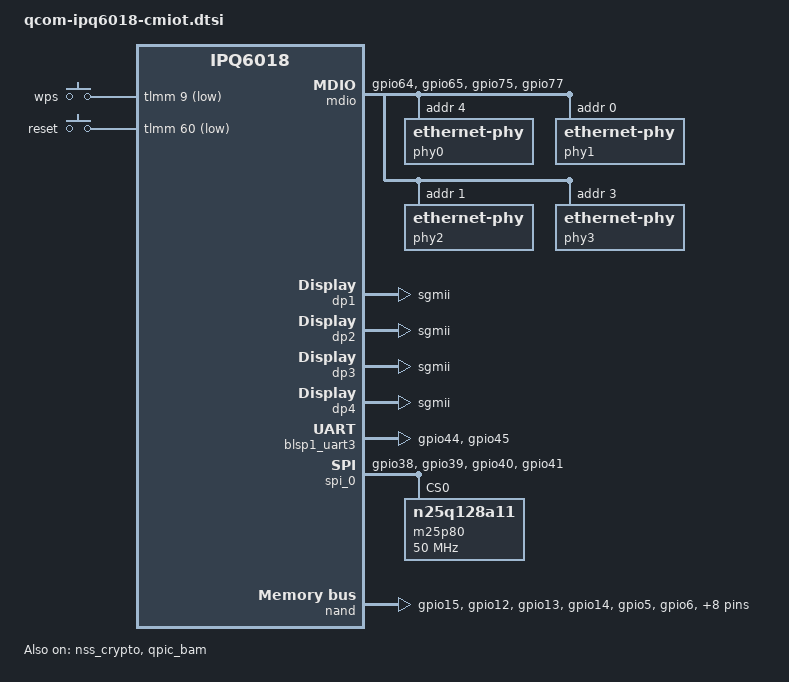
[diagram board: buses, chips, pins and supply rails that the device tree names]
// SPDX-License-Identifier: GPL-2.0-or-later OR MIT
// Copyright (c) 2021 AmadeusGhost <amadeus@jmu.edu.cn>

/dts-v1/;

#include "qcom-ipq6018.dtsi"
#include "qcom-ipq6000-cpu-opp.dtsi"
#include <dt-bindings/input/input.h>
#include <dt-bindings/gpio/gpio.h>

/ {
	#address-cells = <0x2>;
	#size-cells = <0x2>;
	interrupt-parent = <&intc>;
	qcom,msm-id = <0x192 0x0>;

	aliases {
		serial0 = &blsp1_uart3;

		ethernet0 = "/soc/dp1";
		ethernet1 = "/soc/dp2";
		ethernet2 = "/soc/dp3";
		ethernet3 = "/soc/dp4";
	};

	chosen {
		bootargs-append = " root=/dev/ubiblock0_1 swiotlb=1";
	};

	soc {
		mdio: mdio@90000 {
			pinctrl-0 = <&mdio_pins>;
			pinctrl-names = "default";
			phy-reset-gpio = <&tlmm 75 0 &tlmm 77 1>;
			status = "ok";

			phy0: ethernet-phy@0 {
				reg = <4>;
			};
			phy1: ethernet-phy@1 {
				reg = <0>;
			};
			phy2: ethernet-phy@2 {
				reg = <1>;
			};
			phy3: ethernet-phy@3 {
				reg = <3>;
			};
		};

		ess-switch@3a000000 {
			switch_mac_mode = <0x0>; /* mac mode for uniphy instance0*/
			switch_mac_mode1 = <0xff>; /* mac mode for uniphy instance1*/
			switch_mac_mode2 = <0xff>; /* mac mode for uniphy instance2*/

			qcom,port_phyinfo {
				port@0 {
					port_id = <1>;
					phy_address = <0>;
				};
				port@1 {
					port_id = <2>;
					phy_address = <1>;
				};
				port@2 {
					port_id = <4>;
					phy_address = <3>;
				};
				port@3 {
					port_id = <5>;
					phy_address = <4>;
				};
			};
		};

		dp1 {
			device_type = "network";
			compatible = "qcom,nss-dp";
			qcom,id = <5>;
			reg = <0x3a001800 0x200>;
			qcom,mactype = <0>;
			local-mac-address = [000000000000];
			qcom,link-poll = <1>;
			qcom,phy-mdio-addr = <4>;
			phy-mode = "sgmii";
		};

		dp2 {
			device_type = "network";
			compatible = "qcom,nss-dp";
			qcom,id = <1>;
			reg = <0x3a001000 0x200>;
			qcom,mactype = <0>;
			local-mac-address = [000000000000];
			qcom,link-poll = <1>;
			qcom,phy-mdio-addr = <0>;
			phy-mode = "sgmii";
		};

		dp3 {
			device_type = "network";
			compatible = "qcom,nss-dp";
			qcom,id = <2>;
			reg = <0x3a001200 0x200>;
			qcom,mactype = <0>;
			local-mac-address = [000000000000];
			qcom,link-poll = <1>;
			qcom,phy-mdio-addr = <1>;
			phy-mode = "sgmii";
		};

		dp4 {
			device_type = "network";
			compatible = "qcom,nss-dp";
			qcom,id = <4>;
			reg = <0x3a001600 0x200>;
			qcom,mactype = <0>;
			local-mac-address = [000000000000];
			qcom,link-poll = <1>;
			qcom,phy-mdio-addr = <3>;
			phy-mode = "sgmii";
		};
	};

	gpio_keys {
		compatible = "gpio-keys";
		pinctrl-0 = <&button_pins>;
		pinctrl-names = "default";
		status = "ok";

		wps {
			label = "wps";
			linux,code = <KEY_WPS_BUTTON>;
			gpios = <&tlmm 9 GPIO_ACTIVE_LOW>;
			linux,input-type = <1>;
			debounce-interval = <60>;
		};

		reset {
			label = "reset";
			linux,code = <KEY_RESTART>;
			gpios = <&tlmm 60 GPIO_ACTIVE_LOW>;
			linux,input-type = <1>;
			debounce-interval = <60>;
		};
	};
};

&tlmm {
	uart_pins: uart_pins {
		mux {
			pins = "gpio44", "gpio45";
			function = "blsp2_uart";
			drive-strength = <8>;
			bias-pull-down;
		};
	};

	spi_0_pins: spi_0_pins {
		mux {
			pins = "gpio38", "gpio39", "gpio40", "gpio41";
			function = "blsp0_spi";
			drive-strength = <8>;
			bias-pull-down;
		};
	};

	qpic_pins: qpic_pins {
		data_0 {
			pins = "gpio15";
			function = "qpic_pad0";
			drive-strength = <8>;
			bias-pull-down;
		};
		data_1 {
			pins = "gpio12";
			function = "qpic_pad1";
			drive-strength = <8>;
			bias-pull-down;
		};
		data_2 {
			pins = "gpio13";
			function = "qpic_pad2";
			drive-strength = <8>;
			bias-pull-down;
		};
		data_3 {
			pins = "gpio14";
			function = "qpic_pad3";
			drive-strength = <8>;
			bias-pull-down;
		};
		data_4 {
			pins = "gpio5";
			function = "qpic_pad4";
			drive-strength = <8>;
			bias-pull-down;
		};
		data_5 {
			pins = "gpio6";
			function = "qpic_pad5";
			drive-strength = <8>;
			bias-pull-down;
		};
		data_6 {
			pins = "gpio7";
			function = "qpic_pad6";
			drive-strength = <8>;
			bias-pull-down;
		};
		data_7 {
			pins = "gpio8";
			function = "qpic_pad7";
			drive-strength = <8>;
			bias-pull-down;
		};
		qpic_pad {
			pins = "gpio1", "gpio3", "gpio4",
			       "gpio10", "gpio11", "gpio17";
			function = "qpic_pad";
			drive-strength = <8>;
			bias-pull-down;
		};
	};

	button_pins: button_pins {
		wps_button {
			pins = "gpio9";
			function = "gpio";
			drive-strength = <8>;
			bias-pull-up;
		};

		reset_button {
			pins = "gpio60";
			function = "gpio";
			drive-strength = <8>;
			bias-pull-up;
		};
	};

	mdio_pins: mdio_pinmux {
		mux_0 {
			pins = "gpio64";
			function = "mdc";
			drive-strength = <8>;
			bias-pull-up;
		};

		mux_1 {
			pins = "gpio65";
			function = "mdio";
			drive-strength = <8>;
			bias-pull-up;
		};

		mux_2 {
			pins = "gpio75";
			function = "gpio";
			bias-pull-up;
		};

		mux_3 {
			pins = "gpio77";
			function = "gpio";
			bias-pull-up;
		};
	};
};

&blsp1_uart3 {
	pinctrl-0 = <&uart_pins>;
	pinctrl-names = "default";
	status = "ok";
};

&spi_0 {
	pinctrl-0 = <&spi_0_pins>;
	pinctrl-names = "default";
	cs-select = <0>;
	status = "ok";

	m25p80@0 {
		#address-cells = <1>;
		#size-cells = <1>;
		reg = <0>;
		compatible = "n25q128a11";
		spi-max-frequency = <50000000>;
		use-default-sizes;
	};
};

&nand {
	pinctrl-0 = <&qpic_pins>;
	pinctrl-names = "default";
	status = "ok";
};

&nss_crypto {
	status = "ok";
};

&qpic_bam {
	status = "ok";
};
